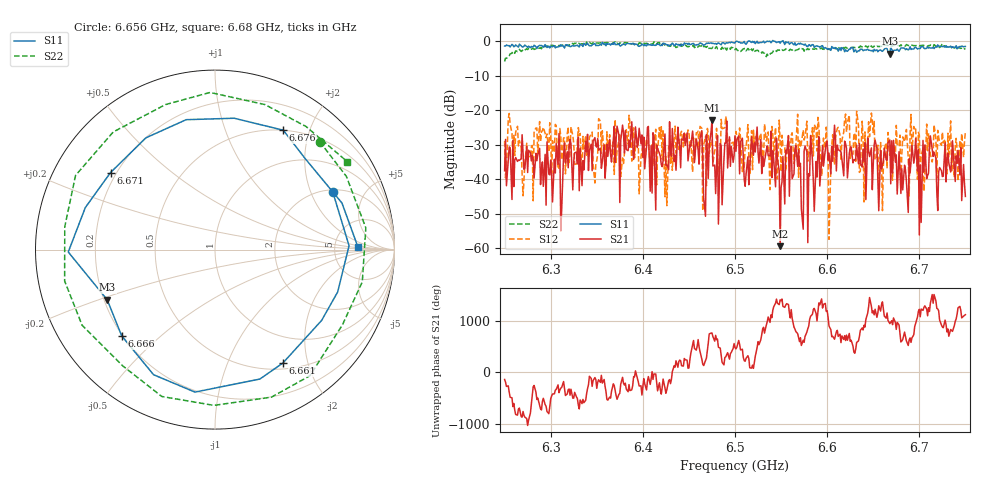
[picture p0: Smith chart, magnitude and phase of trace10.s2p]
# Hz S RI R 50
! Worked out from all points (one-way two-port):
!   401 points, 6.25 GHz to 6.75 GHz, reference 50 ohm
!   highest |S21| = -22.89 dB at 6.475 GHz (marker M1); lowest = -59.4 dB at 6.549 GHz (marker M2)
!   lowest |S11| = -3.6 dB at 6.668 GHz (marker M3), VSWR 4.92, Z = 10.6 - j10.6 ohm
!   |S11| at or under -10 dB: nowhere
!   |S22| runs from -5.9 to -0.2 dB; largest |S21 - S12| = 0.12
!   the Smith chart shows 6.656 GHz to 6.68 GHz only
!   S11 on the Smith chart (normalised r, x): 6.656 GHz: 2.13, +2.91; 6.661 GHz: 0.58, -1.61; 6.666 GHz: 0.20, -0.38; 6.671 GHz: 0.18, +0.32; 6.676 GHz: 0.50, +1.61; 6.68 GHz: 8.77, +0.69
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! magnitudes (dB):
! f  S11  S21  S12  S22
! 6.25 GHz  -1.4  -37.5  -29.0  -5.9
! 6.334 GHz  -1.2  -41.8  -40.3  -0.7
! 6.418 GHz  -1.0  -32.5  -25.0  -0.4
! 6.475 GHz  -0.7  -22.9  -28.6  -2.1
! 6.48 GHz  -0.9  -36.8  -25.2  -1.6
! 6.5 GHz  -0.5  -27.4  -28.6  -2.4
! 6.536 GHz  -0.1  -33.2  -26.3  -4.3
! 6.549 GHz  -0.6  -59.4  -29.3  -2.5
! 6.584 GHz  -1.0  -34.2  -25.1  -2.2
! 6.602 GHz  -2.3  -32.4  -57.4  -2.2
! 6.621 GHz  -2.8  -31.0  -26.3  -2.0
! 6.638 GHz  -2.3  -36.5  -23.2  -1.7
! 6.649 GHz  -2.6  -43.0  -22.9  -1.7
! 6.656 GHz  -2.7  -49.1  -42.0  -1.5
! 6.661 GHz  -2.7  -35.0  -36.0  -1.7
! 6.666 GHz  -3.0  -29.4  -26.5  -1.2
! 6.668 GHz  -3.6  -28.6  -33.1  -1.7
! 6.671 GHz  -2.8  -38.2  -40.3  -1.4
! 6.676 GHz  -2.3  -44.3  -30.3  -1.1
! 6.68 GHz  -2.0  -44.1  -41.3  -1.1
! 6.714 GHz  -2.0  -31.3  -35.0  -1.3
! 6.75 GHz  -1.5  -45.0  -26.1  -2.4
